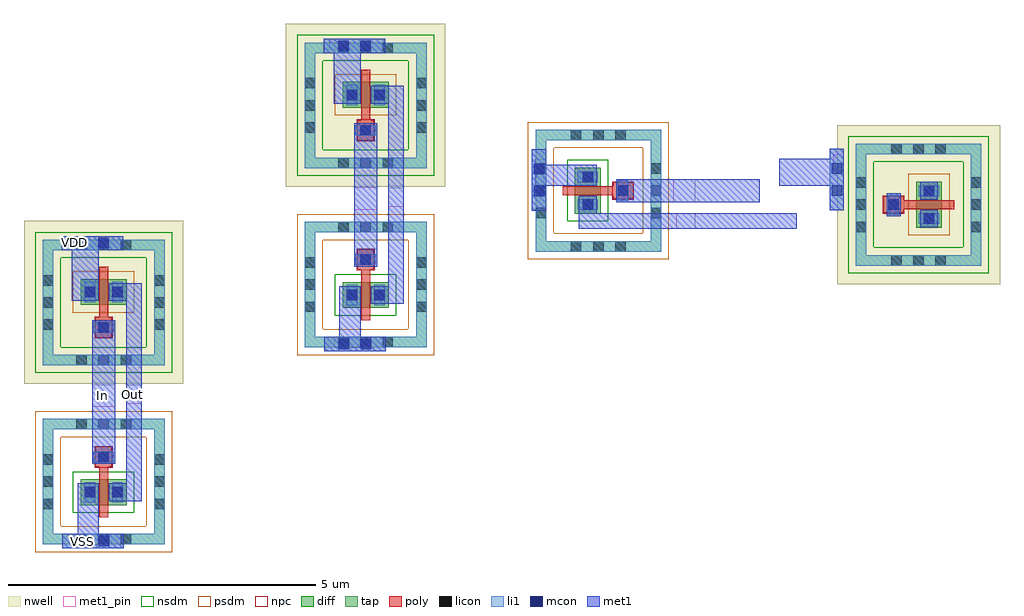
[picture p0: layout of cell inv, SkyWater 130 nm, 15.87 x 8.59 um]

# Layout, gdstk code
from math import pi, radians
import gdstk
lib = gdstk.Library(unit=1e-6, precision=1e-09)
def R(c, l, rs):  # rectangles x0, y0, x1, y1
    for r in rs: c.add(gdstk.rectangle(r[:2], r[2:], *l))
def A(c, l, x, y, w, h, nx, ny, dx, dy):  # array of equal rectangles
    R(c, l, [(x+i*dx, y+j*dy, x+i*dx+w, y+j*dy+h) for i in range(nx) for j in range(ny)])
def P(c, l, *ps):  # polygons
    for p in ps: c.add(gdstk.Polygon(p, *l))
nwell = (64, 20)
diff = (65, 20)
tap = (65, 44)
poly = (66, 20)
licon = (66, 44)
li1 = (67, 20)
mcon = (67, 44)
met1_pin = (68, 16)
met1 = (68, 20)
nsdm = (93, 44)
psdm = (94, 20)
npc = (95, 20)

nfet_1 = lib.new_cell('nfet$1')
R(nfet_1, diff, [(0,0,0.75,0.42)])
P(nfet_1, tap, [(-0.615,-0.64),(-0.615,1.23),(-0.445,1.23),(-0.445,-0.47),(1.195,-0.47),(1.195,1.23),(-0.615,1.23),(-0.615,1.4),(1.365,1.4),(1.365,-0.64)])
R(nfet_1, poly, [(0.3,-0.2,0.45,0.62), (0.24,0.62,0.51,0.95)])
A(nfet_1, licon, -0.07, -0.64, 0.17, 0.17, 3, 2, 0.36, 1.87)
A(nfet_1, licon, -0.615, -0.065, 0.17, 0.17, 1, 3, 0, 0.36)
A(nfet_1, licon, 1.195, -0.065, 0.17, 0.17, 1, 3, 0, 0.36)
R(nfet_1, licon, [(0.065,0.125,0.235,0.295), (0.515,0.125,0.685,0.295), (0.29,0.7,0.46,0.87)])
R(nfet_1, li1, [(0.065,0.045,0.235,0.375), (0.515,0.045,0.685,0.375), (0.21,0.7,0.54,0.87)])
P(nfet_1, li1, [(-0.615,-0.64),(-0.615,1.23),(-0.445,1.23),(-0.445,-0.47),(1.195,-0.47),(1.195,1.23),(-0.615,1.23),(-0.615,1.4),(1.365,1.4),(1.365,-0.64)])
R(nfet_1, mcon, [(0.065,0.125,0.235,0.295), (0.515,0.125,0.685,0.295), (0.29,0.7,0.46,0.87)])
R(nfet_1, met1, [(0.005,0.065,0.295,0.355), (0.455,0.065,0.745,0.355), (0.19,0.67,0.56,0.9)])
R(nfet_1, nsdm, [(-0.125,-0.125,0.875,0.545)])
P(nfet_1, psdm, [(-0.74,-0.765),(-0.74,1.105),(-0.32,1.105),(-0.32,-0.345),(1.07,-0.345),(1.07,1.105),(-0.74,1.105),(-0.74,1.525),(1.49,1.525),(1.49,-0.765)])
R(nfet_1, npc, [(0.23,0.61,0.52,0.96)])

pfet_1 = lib.new_cell('pfet$1')
R(pfet_1, nwell, [(-0.92,-1.285,1.67,1.365)])
R(pfet_1, diff, [(0,0,0.75,0.42)])
P(pfet_1, tap, [(-0.615,-0.98),(-0.615,0.89),(-0.445,0.89),(-0.445,-0.81),(1.195,-0.81),(1.195,0.89),(-0.615,0.89),(-0.615,1.06),(1.365,1.06),(1.365,-0.98)])
R(pfet_1, poly, [(0.24,-0.53,0.51,-0.2), (0.3,-0.2,0.45,0.62)])
A(pfet_1, licon, -0.07, -0.98, 0.17, 0.17, 3, 2, 0.36, 1.87)
A(pfet_1, licon, -0.615, -0.405, 0.17, 0.17, 1, 3, 0, 0.36)
A(pfet_1, licon, 1.195, -0.405, 0.17, 0.17, 1, 3, 0, 0.36)
R(pfet_1, licon, [(0.29,-0.45,0.46,-0.28), (0.065,0.125,0.235,0.295), (0.515,0.125,0.685,0.295)])
R(pfet_1, li1, [(0.21,-0.45,0.54,-0.28), (0.065,0.045,0.235,0.375), (0.515,0.045,0.685,0.375)])
P(pfet_1, li1, [(-0.615,-0.98),(-0.615,0.89),(-0.445,0.89),(-0.445,-0.81),(1.195,-0.81),(1.195,0.89),(-0.615,0.89),(-0.615,1.06),(1.365,1.06),(1.365,-0.98)])
R(pfet_1, mcon, [(0.29,-0.45,0.46,-0.28), (0.065,0.125,0.235,0.295), (0.515,0.125,0.685,0.295)])
R(pfet_1, met1, [(0.19,-0.48,0.56,-0.25), (0.005,0.065,0.295,0.355), (0.455,0.065,0.745,0.355)])
P(pfet_1, nsdm, [(-0.74,-1.105),(-0.74,0.765),(-0.32,0.765),(-0.32,-0.685),(1.07,-0.685),(1.07,0.765),(-0.74,0.765),(-0.74,1.185),(1.49,1.185),(1.49,-1.105)])
R(pfet_1, psdm, [(-0.125,-0.125,0.875,0.545)])
R(pfet_1, npc, [(0.23,-0.54,0.52,-0.19)])

vias_gen_1 = lib.new_cell('vias_gen$1')
R(vias_gen_1, li1, [(0,0,1,0.23)])
R(vias_gen_1, mcon, [(0.235,0.03,0.405,0.2), (0.595,0.03,0.765,0.2)])
R(vias_gen_1, met1, [(0,0,1,0.23)])

nfet = lib.new_cell('nfet')
R(nfet, diff, [(0,0,0.75,0.42)])
P(nfet, tap, [(-0.615,-0.64),(-0.615,1.23),(-0.445,1.23),(-0.445,-0.47),(1.195,-0.47),(1.195,1.23),(-0.615,1.23),(-0.615,1.4),(1.365,1.4),(1.365,-0.64)])
R(nfet, poly, [(0.3,-0.2,0.45,0.62), (0.24,0.62,0.51,0.95)])
A(nfet, licon, -0.07, -0.64, 0.17, 0.17, 3, 2, 0.36, 1.87)
A(nfet, licon, -0.615, -0.065, 0.17, 0.17, 1, 3, 0, 0.36)
A(nfet, licon, 1.195, -0.065, 0.17, 0.17, 1, 3, 0, 0.36)
R(nfet, licon, [(0.065,0.125,0.235,0.295), (0.515,0.125,0.685,0.295), (0.29,0.7,0.46,0.87)])
R(nfet, li1, [(0.065,0.045,0.235,0.375), (0.515,0.045,0.685,0.375), (0.21,0.7,0.54,0.87)])
P(nfet, li1, [(-0.615,-0.64),(-0.615,1.23),(-0.445,1.23),(-0.445,-0.47),(1.195,-0.47),(1.195,1.23),(-0.615,1.23),(-0.615,1.4),(1.365,1.4),(1.365,-0.64)])
R(nfet, mcon, [(0.065,0.125,0.235,0.295), (0.515,0.125,0.685,0.295), (0.29,0.7,0.46,0.87)])
R(nfet, met1, [(0.005,0.065,0.295,0.355), (0.455,0.065,0.745,0.355), (0.19,0.67,0.56,0.9)])
R(nfet, nsdm, [(-0.125,-0.125,0.875,0.545)])
P(nfet, psdm, [(-0.74,-0.765),(-0.74,1.105),(-0.32,1.105),(-0.32,-0.345),(1.07,-0.345),(1.07,1.105),(-0.74,1.105),(-0.74,1.525),(1.49,1.525),(1.49,-0.765)])
R(nfet, npc, [(0.23,0.61,0.52,0.96)])

pfet = lib.new_cell('pfet')
R(pfet, nwell, [(-0.92,-1.285,1.67,1.365)])
R(pfet, diff, [(0,0,0.75,0.42)])
P(pfet, tap, [(-0.615,-0.98),(-0.615,0.89),(-0.445,0.89),(-0.445,-0.81),(1.195,-0.81),(1.195,0.89),(-0.615,0.89),(-0.615,1.06),(1.365,1.06),(1.365,-0.98)])
R(pfet, poly, [(0.24,-0.53,0.51,-0.2), (0.3,-0.2,0.45,0.62)])
A(pfet, licon, -0.07, -0.98, 0.17, 0.17, 3, 2, 0.36, 1.87)
A(pfet, licon, -0.615, -0.405, 0.17, 0.17, 1, 3, 0, 0.36)
A(pfet, licon, 1.195, -0.405, 0.17, 0.17, 1, 3, 0, 0.36)
R(pfet, licon, [(0.29,-0.45,0.46,-0.28), (0.065,0.125,0.235,0.295), (0.515,0.125,0.685,0.295)])
R(pfet, li1, [(0.21,-0.45,0.54,-0.28), (0.065,0.045,0.235,0.375), (0.515,0.045,0.685,0.375)])
P(pfet, li1, [(-0.615,-0.98),(-0.615,0.89),(-0.445,0.89),(-0.445,-0.81),(1.195,-0.81),(1.195,0.89),(-0.615,0.89),(-0.615,1.06),(1.365,1.06),(1.365,-0.98)])
R(pfet, mcon, [(0.29,-0.45,0.46,-0.28), (0.065,0.125,0.235,0.295), (0.515,0.125,0.685,0.295)])
R(pfet, met1, [(0.19,-0.48,0.56,-0.25), (0.005,0.065,0.295,0.355), (0.455,0.065,0.745,0.355)])
P(pfet, nsdm, [(-0.74,-1.105),(-0.74,0.765),(-0.32,0.765),(-0.32,-0.685),(1.07,-0.685),(1.07,0.765),(-0.74,0.765),(-0.74,1.185),(1.49,1.185),(1.49,-1.105)])
R(pfet, psdm, [(-0.125,-0.125,0.875,0.545)])
R(pfet, npc, [(0.23,-0.54,0.52,-0.19)])

vias_gen = lib.new_cell('vias_gen')
R(vias_gen, li1, [(0,0,1,0.23)])
R(vias_gen, mcon, [(0.235,0.03,0.405,0.2), (0.595,0.03,0.765,0.2)])
R(vias_gen, met1, [(0,0,1,0.23)])

ejemplo = lib.new_cell('Ejemplo')
R(ejemplo, met1_pin, [(1.765,0.89,2.185,1.045), (2.09,3.14,2.46,3.5), (2.645,3.185,2.895,3.495), (1.685,5.74,1.95,5.885)])
R(ejemplo, met1, [(1.85,1.025,2.195,1.895), (2.645,1.605,2.895,5.15), (2.09,2.21,2.46,4.545), (1.76,4.86,2.195,5.79)])
ejemplo.add(gdstk.Reference(nfet, (1.9,1.54)))
ejemplo.add(gdstk.Reference(pfet, (1.9,4.795)))
ejemplo.add(gdstk.Reference(vias_gen, (1.6,0.84)))
ejemplo.add(gdstk.Reference(vias_gen, (1.595,5.685)))
ejemplo.add(gdstk.Label('In', (2.26,3.32), layer=68, texttype=5))
ejemplo.add(gdstk.Label('Out', (2.745,3.345), layer=68, texttype=5))
ejemplo.add(gdstk.Label('VDD', (1.8,5.81), layer=68, texttype=5))
ejemplo.add(gdstk.Label('VSS', (1.935,0.95), layer=68, texttype=5))

inv2 = lib.new_cell('inv2')
R(inv2, met1_pin, [(1.993,2.848,2.303,3.098), (1.948,3.283,2.308,3.653), (-0.302,3.558,-0.147,3.978), (4.548,3.793,4.693,4.058)])
R(inv2, met1, [(0.413,2.848,3.958,3.098), (1.018,3.283,3.353,3.653), (-0.167,3.548,0.703,3.893), (3.668,3.548,4.598,3.983)])
inv2.add(gdstk.Reference(nfet, (0.348,3.843), rotation=3*pi/2))
inv2.add(gdstk.Reference(pfet, (5.895,3.615), rotation=3*pi/2))
inv2.add(gdstk.Reference(vias_gen, (-0.352,4.143), rotation=3*pi/2))
inv2.add(gdstk.Reference(vias_gen, (4.493,4.148), rotation=3*pi/2))
inv2.add(gdstk.Label('In', (2.128,3.483), layer=68, texttype=5))
inv2.add(gdstk.Label('Out', (2.153,2.998), layer=68, texttype=5))
inv2.add(gdstk.Label('VDD', (4.618,3.943), layer=68, texttype=5))
inv2.add(gdstk.Label('VSS', (-0.242,3.808), layer=68, texttype=5))

inv = lib.new_cell('inv')
R(inv, met1_pin, [(1.765,0.89,2.185,1.045), (2.09,3.14,2.46,3.5), (2.645,3.185,2.895,3.495), (1.685,5.74,1.95,5.885)])
R(inv, met1, [(1.85,1.025,2.195,1.895), (2.645,1.605,2.895,5.15), (2.09,2.21,2.46,4.545), (1.76,4.86,2.195,5.79)])
inv.add(gdstk.Reference(nfet_1, (1.9,1.54)))
inv.add(gdstk.Reference(pfet_1, (1.9,4.795)))
inv.add(gdstk.Reference(vias_gen_1, (1.6,0.84)))
inv.add(gdstk.Reference(vias_gen_1, (1.595,5.685)))
inv.add(gdstk.Reference(ejemplo, (4.26,3.205)))
inv.add(gdstk.Reference(inv2, (9.59,3.185)))
inv.add(gdstk.Label('In', (2.26,3.32), layer=68, texttype=5))
inv.add(gdstk.Label('Out', (2.745,3.345), layer=68, texttype=5))
inv.add(gdstk.Label('VDD', (1.8,5.81), layer=68, texttype=5))
inv.add(gdstk.Label('VSS', (1.935,0.95), layer=68, texttype=5))

lib.write_gds('inv.gds')
